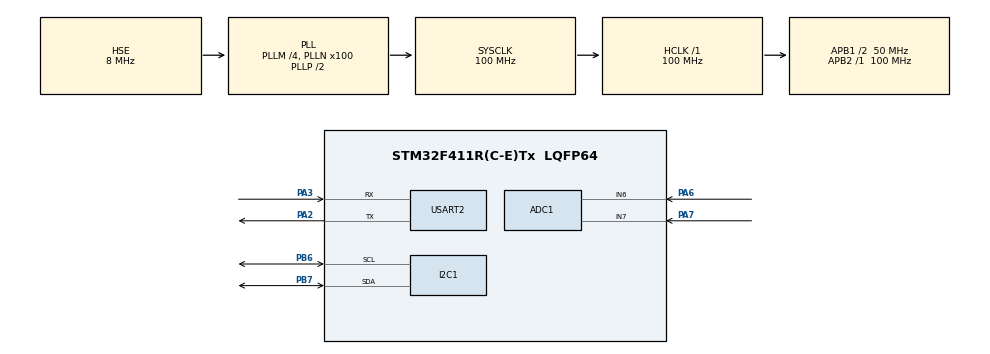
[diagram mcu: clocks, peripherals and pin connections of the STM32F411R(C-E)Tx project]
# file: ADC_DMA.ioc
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ADC1.Channel-0\#ChannelRegularConversion=ADC_CHANNEL_7
ADC1.Channel-1\#ChannelInjectedConversion=ADC_CHANNEL_7
ADC1.Channel-3\#ChannelRegularConversion=ADC_CHANNEL_6
ADC1.ClockPrescaler=ADC_CLOCK_SYNC_PCLK_DIV4
ADC1.ContinuousConvMode=ENABLE
ADC1.DMAContinuousRequests=ENABLE
ADC1.InjNumberOfConversion=1
ADC1.InjectedOffset-1\#ChannelInjectedConversion=0
ADC1.InjectedRank-1\#ChannelInjectedConversion=1
ADC1.NbrOfConversion=2
ADC1.NbrOfConversionFlag=1
ADC1.Rank-0\#ChannelRegularConversion=1
ADC1.Rank-3\#ChannelRegularConversion=2
ADC1.SamplingTime-0\#ChannelRegularConversion=ADC_SAMPLETIME_84CYCLES
ADC1.SamplingTime-1\#ChannelInjectedConversion=ADC_SAMPLETIME_112CYCLES
ADC1.SamplingTime-3\#ChannelRegularConversion=ADC_SAMPLETIME_84CYCLES
ADC1.ScanConvMode=ENABLE
ADC1.master=1
Dma.ADC1.0.Direction=DMA_PERIPH_TO_MEMORY
Dma.ADC1.0.FIFOMode=DMA_FIFOMODE_DISABLE
Dma.ADC1.0.Instance=DMA2_Stream0
Dma.ADC1.0.MemDataAlignment=DMA_MDATAALIGN_HALFWORD
Dma.ADC1.0.MemInc=DMA_MINC_ENABLE
Dma.ADC1.0.Mode=DMA_CIRCULAR
Dma.ADC1.0.PeriphDataAlignment=DMA_PDATAALIGN_HALFWORD
Dma.ADC1.0.PeriphInc=DMA_PINC_DISABLE
Dma.ADC1.0.Priority=DMA_PRIORITY_LOW
Dma.Request0=ADC1
Mcu.Family=STM32F4
Mcu.Name=STM32F411R(C-E)Tx
Mcu.Package=LQFP64
NVIC.ADC_IRQn=true\:0\:0\:false\:false\:true\:true\:true\:true
NVIC.DMA2_Stream0_IRQn=true\:0\:0\:false\:false\:true\:false\:true\:true
NVIC.PriorityGroup=NVIC_PRIORITYGROUP_4
PA13.Mode=Serial_Wire
PA13.Signal=SYS_JTMS-SWDIO
PA14.Mode=Serial_Wire
PA14.Signal=SYS_JTCK-SWCLK
PA2.Mode=Asynchronous
PA2.Signal=USART2_TX
PA3.Mode=Asynchronous
PA3.Signal=USART2_RX
PA6.Signal=ADCx_IN6
PA7.Signal=ADCx_IN7
PB6.Mode=I2C
PB6.Signal=I2C1_SCL
PB7.Mode=I2C
PB7.Signal=I2C1_SDA
PH0\ -\ OSC_IN.Mode=HSE-External-Oscillator
PH0\ -\ OSC_IN.Signal=RCC_OSC_IN
PH1\ -\ OSC_OUT.Mode=HSE-External-Oscillator
PH1\ -\ OSC_OUT.Signal=RCC_OSC_OUT
ProjectManager.HeapSize=0x200
ProjectManager.StackSize=0x400
ProjectManager.TargetToolchain=STM32CubeIDE
RCC.48MHZClocksFreq_Value=50000000
RCC.AHBFreq_Value=100000000
RCC.APB1CLKDivider=RCC_HCLK_DIV2
RCC.APB1Freq_Value=50000000
RCC.APB1TimFreq_Value=100000000
RCC.APB2Freq_Value=100000000
RCC.APB2TimFreq_Value=100000000
RCC.CortexFreq_Value=100000000
RCC.HCLKFreq_Value=100000000
RCC.HSE_VALUE=8000000
RCC.HSI_VALUE=16000000
RCC.LSE_VALUE=32768
RCC.PLLM=4
RCC.PLLN=100
RCC.PLLSourceVirtual=RCC_PLLSOURCE_HSE
RCC.SYSCLKFreq_VALUE=100000000
RCC.SYSCLKSource=RCC_SYSCLKSOURCE_PLLCLK
RCC.VCOOutputFreq_Value=200000000
SH.ADCx_IN6.0=ADC1_IN6,IN6
SH.ADCx_IN7.0=ADC1_IN7,IN7
USART2.VirtualMode=VM_ASYNC
board=custom

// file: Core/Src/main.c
/* USER CODE BEGIN Header */
/**
  ******************************************************************************
  * @file           : main.c
  * @brief          : Main program body
  ******************************************************************************
  * @attention
  *
  * Copyright (c) 2024 STMicroelectronics.
  * All rights reserved.
  *
  * This software is licensed under terms that can be found in the LICENSE file
  * in the root directory of this software component.
  * If no LICENSE file comes with this software, it is provided AS-IS.
  *
  ******************************************************************************
  */
/* USER CODE END Header */
#include "main.h"
#include "adc.h"
#include "dma.h"
#include "i2c.h"
#include "usart.h"
#include "gpio.h"

/* USER CODE BEGIN Includes */

#include "i2c_lcd.h"

/* USER CODE END Includes */

/* USER CODE BEGIN PM */

#ifdef __GNUC__
  /* With GCC, small printf (option LD Linker->Libraries->Small printf
     set to 'Yes') calls __io_putchar() */
  #define PUTCHAR_PROTOTYPE int __io_putchar(int ch)
#else
  #define PUTCHAR_PROTOTYPE int fputc(int ch, FILE *f)
#endif /* __GNUC__ */

PUTCHAR_PROTOTYPE
{
  /* Place your implementation of fputc here /
  / e.g. write a character to the EVAL_COM1 and Loop until the end of transmission */

  HAL_UART_Transmit(&huart2, (uint8_t *)&ch, 1, 0xFF);
  return ch;
}

/* USER CODE END PM */

/* USER CODE BEGIN PV */

volatile uint16_t adcValue[2];

/* USER CODE END PV */

void SystemClock_Config(void);

int main(void)
{

  /* MCU Configuration--------------------------------------------------------*/

  /* Reset of all peripherals, Initializes the Flash interface and the Systick. */
  HAL_Init();

  /* Configure the system clock */
  SystemClock_Config();

  /* Initialize all configured peripherals */
  MX_GPIO_Init();
  MX_DMA_Init();
  MX_ADC1_Init();
  MX_USART2_UART_Init();
  MX_I2C1_Init();
  /* USER CODE BEGIN 2 */

  i2c_lcd_init();

  //move_cursor(0, 0);
  //lcd_string("Hello test !!");
  //move_cursor(1, 0);
  //lcd_string("Good LCD !!!");

  HAL_ADC_Start_DMA(&hadc1, adcValue, 2); // channel 2EA

  /* USER CODE END 2 */

  /* Infinite loop */
  /* USER CODE BEGIN WHILE */
  uint8_t temp[50];
  uint8_t temp1[50];
  while (1)
  {
	  sprintf(temp, "ADC_1 : %4d", adcValue[0]);
	  sprintf(temp1, "ADC_2 : %4d", adcValue[1]);
	  move_cursor(0, 2);
	  lcd_string(temp);
	  move_cursor(1, 2);
	  lcd_string(temp1);
	  HAL_Delay(100);

	  printf("adc1 -> value : %4d\r\n", adcValue[0]);
	  printf("adc2 -> value : %4d\r\n", adcValue[1]);

	  HAL_Delay(500);

    /* USER CODE END WHILE */

  }
}

void SystemClock_Config(void)
{
  RCC_OscInitTypeDef RCC_OscInitStruct = {0};
  RCC_ClkInitTypeDef RCC_ClkInitStruct = {0};

  /** Configure the main internal regulator output voltage
  */
  __HAL_RCC_PWR_CLK_ENABLE();
  __HAL_PWR_VOLTAGESCALING_CONFIG(PWR_REGULATOR_VOLTAGE_SCALE1);

  /** Initializes the RCC Oscillators according to the specified parameters
  * in the RCC_OscInitTypeDef structure.
  */
  RCC_OscInitStruct.OscillatorType = RCC_OSCILLATORTYPE_HSE;
  RCC_OscInitStruct.HSEState = RCC_HSE_ON;
  RCC_OscInitStruct.PLL.PLLState = RCC_PLL_ON;
  RCC_OscInitStruct.PLL.PLLSource = RCC_PLLSOURCE_HSE;
  RCC_OscInitStruct.PLL.PLLM = 4;
  RCC_OscInitStruct.PLL.PLLN = 100;
  RCC_OscInitStruct.PLL.PLLP = RCC_PLLP_DIV2;
  RCC_OscInitStruct.PLL.PLLQ = 4;
  if (HAL_RCC_OscConfig(&RCC_OscInitStruct) != HAL_OK)
  {
    Error_Handler();
  }

  /** Initializes the CPU, AHB and APB buses clocks
  */
  RCC_ClkInitStruct.ClockType = RCC_CLOCKTYPE_HCLK|RCC_CLOCKTYPE_SYSCLK
                              |RCC_CLOCKTYPE_PCLK1|RCC_CLOCKTYPE_PCLK2;
  RCC_ClkInitStruct.SYSCLKSource = RCC_SYSCLKSOURCE_PLLCLK;
  RCC_ClkInitStruct.AHBCLKDivider = RCC_SYSCLK_DIV1;
  RCC_ClkInitStruct.APB1CLKDivider = RCC_HCLK_DIV2;
  RCC_ClkInitStruct.APB2CLKDivider = RCC_HCLK_DIV1;

  if (HAL_RCC_ClockConfig(&RCC_ClkInitStruct, FLASH_LATENCY_3) != HAL_OK)
  {
    Error_Handler();
  }
}

void Error_Handler(void)
{
  __disable_irq();
  while (1)
  {
  }
}
